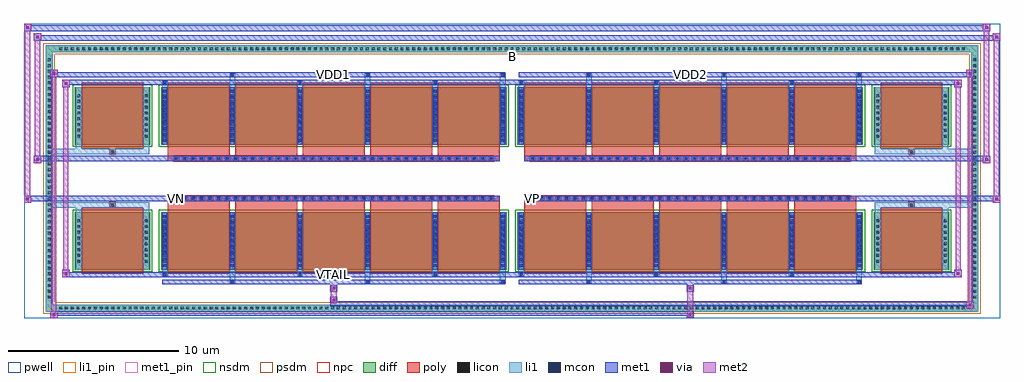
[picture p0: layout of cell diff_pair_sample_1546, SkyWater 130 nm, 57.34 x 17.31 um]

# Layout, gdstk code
import gdstk
lib = gdstk.Library(unit=1e-6, precision=5e-09)
def R(c, l, rs):  # rectangles x0, y0, x1, y1
    for r in rs: c.add(gdstk.rectangle(r[:2], r[2:], *l))
def A(c, l, x, y, w, h, nx, ny, dx, dy):  # array of equal rectangles
    R(c, l, [(x+i*dx, y+j*dy, x+i*dx+w, y+j*dy+h) for i in range(nx) for j in range(ny)])
def P(c, l, *ps):  # polygons
    for p in ps: c.add(gdstk.Polygon(p, *l))
pwell = (64, 44)
diff = (65, 20)
poly = (66, 20)
licon = (66, 44)
li1_pin = (67, 16)
li1 = (67, 20)
mcon = (67, 44)
met1_pin = (68, 16)
met1 = (68, 20)
via = (68, 44)
met2 = (69, 20)
nsdm = (93, 44)
psdm = (94, 20)
npc = (95, 20)

diff_pair_sample_1546 = lib.new_cell('diff_pair_sample_1546')
R(diff_pair_sample_1546, pwell, [(-28.67,-8.22,28.67,9.09), (-25.99,-6.41,-0.01,-0.805), (0.01,-6.41,25.99,-0.805), (-25.99,0.805,-0.01,6.41), (0.01,0.805,25.99,6.41)])
A(diff_pair_sample_1546, diff, -26.725, -7.82, 0.41, 0.41, 157, 2, 0.34, 15.23)
A(diff_pair_sample_1546, diff, -27.4, -7.175, 0.41, 0.41, 1, 42, 0, 0.34)
A(diff_pair_sample_1546, diff, 26.99, -7.175, 0.41, 0.41, 1, 42, 0, 0.34)
R(diff_pair_sample_1546, diff, [(-26.725,-7.82,26.725,-7.41), (-27.4,-7.175,-26.99,7.175), (26.99,-7.175,27.4,7.175), (-25.68,-5.365,-21.26,-1.985), (-20.62,-5.365,-0.32,-1.985), (0.32,-5.365,20.62,-1.985), (21.26,-5.365,25.68,-1.985), (-25.68,1.985,-21.26,5.365), (-20.62,1.985,-0.32,5.365), (0.32,1.985,20.62,5.365), (21.26,1.985,25.68,5.365), (-26.725,7.41,26.725,7.82)])
P(diff_pair_sample_1546, diff, [(27.4,7.82),(-27.4,7.82),(-27.4,-7.41),(-26.99,-7.41),(-26.99,7.41),(26.99,7.41),(26.99,-7.41),(-26.99,-7.41),(-27.4,-7.41),(-27.4,-7.82),(27.4,-7.82)])
A(diff_pair_sample_1546, poly, -20.23, -5.615, 3.64, 3.88, 5, 2, 3.97, 7.35)
A(diff_pair_sample_1546, poly, 0.71, -5.615, 3.64, 3.88, 5, 2, 3.97, 7.35)
A(diff_pair_sample_1546, poly, -20.23, -1.735, 3.64, 0.4, 5, 2, 3.97, 3.07)
A(diff_pair_sample_1546, poly, 0.71, -1.735, 3.64, 0.4, 5, 2, 3.97, 3.07)
A(diff_pair_sample_1546, poly, -19.885, -1.335, 0.33, 0.33, 38, 2, 0.5, 2.34)
A(diff_pair_sample_1546, poly, 1.055, -1.335, 0.33, 0.33, 38, 2, 0.5, 2.34)
R(diff_pair_sample_1546, poly, [(-25.29,-5.615,-21.65,-1.735), (21.65,-5.615,25.29,-1.735), (-23.635,-1.735,-23.305,-1.405), (-23.635,-1.735,-23.305,-1.405), (23.305,-1.735,23.635,-1.405), (23.305,-1.735,23.635,-1.405), (-20.23,-1.335,-0.71,-1.005), (0.71,-1.335,20.23,-1.005), (-20.23,1.005,-0.71,1.335), (0.71,1.005,20.23,1.335), (-23.635,1.405,-23.305,1.735), (-23.635,1.405,-23.305,1.735), (23.305,1.405,23.635,1.735), (23.305,1.405,23.635,1.735), (-25.29,1.735,-21.65,5.615), (21.65,1.735,25.29,5.615)])
A(diff_pair_sample_1546, licon, -26.605, -7.7, 0.17, 0.17, 157, 2, 0.34, 15.23)
A(diff_pair_sample_1546, licon, -27.28, -7.055, 0.17, 0.17, 1, 42, 0, 0.34)
A(diff_pair_sample_1546, licon, 27.11, -7.055, 0.17, 0.17, 1, 42, 0, 0.34)
A(diff_pair_sample_1546, licon, -25.54, -4.95, 0.17, 0.17, 1, 8, 0, 0.34)
A(diff_pair_sample_1546, licon, -21.57, -4.95, 0.17, 0.17, 1, 8, 0, 0.34)
A(diff_pair_sample_1546, licon, -20.48, -4.95, 0.17, 0.17, 6, 8, 3.97, 0.34)
A(diff_pair_sample_1546, licon, 0.46, -4.95, 0.17, 0.17, 6, 8, 3.97, 0.34)
A(diff_pair_sample_1546, licon, 21.4, -4.95, 0.17, 0.17, 1, 8, 0, 0.34)
A(diff_pair_sample_1546, licon, 25.37, -4.95, 0.17, 0.17, 1, 8, 0, 0.34)
A(diff_pair_sample_1546, licon, -19.805, -1.255, 0.17, 0.17, 38, 2, 0.5, 2.34)
A(diff_pair_sample_1546, licon, 1.135, -1.255, 0.17, 0.17, 38, 2, 0.5, 2.34)
A(diff_pair_sample_1546, licon, -25.54, 2.4, 0.17, 0.17, 1, 8, 0, 0.34)
A(diff_pair_sample_1546, licon, -21.57, 2.4, 0.17, 0.17, 1, 8, 0, 0.34)
A(diff_pair_sample_1546, licon, -20.48, 2.4, 0.17, 0.17, 6, 8, 3.97, 0.34)
A(diff_pair_sample_1546, licon, 0.46, 2.4, 0.17, 0.17, 6, 8, 3.97, 0.34)
A(diff_pair_sample_1546, licon, 21.4, 2.4, 0.17, 0.17, 1, 8, 0, 0.34)
A(diff_pair_sample_1546, licon, 25.37, 2.4, 0.17, 0.17, 1, 8, 0, 0.34)
R(diff_pair_sample_1546, licon, [(-23.555,-1.655,-23.385,-1.485), (23.385,-1.655,23.555,-1.485), (-23.555,1.485,-23.385,1.655), (23.385,1.485,23.555,1.655)])
R(diff_pair_sample_1546, li1_pin, [(-0.25,6.91,0.25,7.41)])
A(diff_pair_sample_1546, li1, -26.685, -7.78, 0.33, 0.33, 157, 2, 0.34, 15.23)
A(diff_pair_sample_1546, li1, -27.36, -7.135, 0.33, 0.33, 1, 42, 0, 0.34)
A(diff_pair_sample_1546, li1, 27.03, -7.135, 0.33, 0.33, 1, 42, 0, 0.34)
A(diff_pair_sample_1546, li1, -16.59, -6.17, 0.33, 0.805, 3, 2, 7.94, 11.535)
A(diff_pair_sample_1546, li1, -16.51, -6.17, 0.17, 0.17, 3, 2, 7.94, 12.17)
A(diff_pair_sample_1546, li1, 4.35, -6.17, 0.33, 0.805, 3, 2, 7.94, 11.535)
A(diff_pair_sample_1546, li1, 4.43, -6.17, 0.17, 0.17, 3, 2, 7.94, 12.17)
A(diff_pair_sample_1546, li1, -20.56, -5.74, 0.33, 0.375, 3, 2, 7.94, 11.105)
A(diff_pair_sample_1546, li1, -20.48, -5.74, 0.17, 0.17, 3, 2, 7.94, 11.31)
A(diff_pair_sample_1546, li1, 0.38, -5.74, 0.33, 0.375, 3, 2, 7.94, 11.105)
A(diff_pair_sample_1546, li1, 0.46, -5.74, 0.17, 0.17, 3, 2, 7.94, 11.31)
A(diff_pair_sample_1546, li1, -20.56, -5.365, 0.33, 3.38, 6, 2, 3.97, 7.35)
A(diff_pair_sample_1546, li1, 0.38, -5.365, 0.33, 3.38, 6, 2, 3.97, 7.35)
A(diff_pair_sample_1546, li1, -20.48, -5.2, 0.17, 0.17, 6, 9, 3.97, 0.36)
A(diff_pair_sample_1546, li1, -20.48, -5.2, 0.17, 3.05, 6, 2, 3.97, 7.35)
A(diff_pair_sample_1546, li1, 0.46, -5.2, 0.17, 0.17, 6, 9, 3.97, 0.36)
A(diff_pair_sample_1546, li1, 0.46, -5.2, 0.17, 3.05, 6, 2, 3.97, 7.35)
A(diff_pair_sample_1546, li1, -25.62, -5.03, 0.33, 0.33, 1, 8, 0, 0.34)
A(diff_pair_sample_1546, li1, -21.65, -5.03, 0.33, 0.33, 1, 8, 0, 0.34)
A(diff_pair_sample_1546, li1, -20.56, -5.03, 0.33, 0.33, 6, 8, 3.97, 0.34)
A(diff_pair_sample_1546, li1, 0.38, -5.03, 0.33, 0.33, 6, 8, 3.97, 0.34)
A(diff_pair_sample_1546, li1, 21.32, -5.03, 0.33, 0.33, 1, 8, 0, 0.34)
A(diff_pair_sample_1546, li1, 25.29, -5.03, 0.33, 0.33, 1, 8, 0, 0.34)
A(diff_pair_sample_1546, li1, -19.885, -1.335, 0.33, 0.33, 38, 2, 0.5, 2.34)
A(diff_pair_sample_1546, li1, 1.055, -1.335, 0.33, 0.33, 38, 2, 0.5, 2.34)
A(diff_pair_sample_1546, li1, -20.48, 2.15, 0.17, 0.17, 6, 9, 3.97, 0.36)
A(diff_pair_sample_1546, li1, 0.46, 2.15, 0.17, 0.17, 6, 9, 3.97, 0.36)
A(diff_pair_sample_1546, li1, -25.62, 2.32, 0.33, 0.33, 1, 8, 0, 0.34)
A(diff_pair_sample_1546, li1, -21.65, 2.32, 0.33, 0.33, 1, 8, 0, 0.34)
A(diff_pair_sample_1546, li1, -20.56, 2.32, 0.33, 0.33, 6, 8, 3.97, 0.34)
A(diff_pair_sample_1546, li1, 0.38, 2.32, 0.33, 0.33, 6, 8, 3.97, 0.34)
A(diff_pair_sample_1546, li1, 21.32, 2.32, 0.33, 0.33, 1, 8, 0, 0.34)
A(diff_pair_sample_1546, li1, 25.29, 2.32, 0.33, 0.33, 1, 8, 0, 0.34)
R(diff_pair_sample_1546, li1, [(-27.4,-7.82,-26.99,-7.41), (-27.4,-7.82,-26.99,-7.41), (-26.99,-7.82,26.99,-7.41), (26.99,-7.82,27.4,-7.41), (26.99,-7.82,27.4,-7.41), (-27.4,-7.41,-26.99,7.41), (26.99,-7.41,27.4,7.41), (-25.62,-5.365,-25.29,-1.985), (-21.65,-5.365,-21.32,-1.985), (21.32,-5.365,21.65,-1.985), (25.29,-5.365,25.62,-1.985), (-25.62,-1.985,-25.29,-1.405), (-21.65,-1.985,-21.32,-1.405), (21.32,-1.985,21.65,-1.405), (25.29,-1.985,25.62,-1.405), (-27.4,-1.735,-23.635,-1.405), (-25.62,-1.735,-23.635,-1.405), (-23.635,-1.735,-23.305,-1.405), (-23.305,-1.735,-21.32,-1.405), (21.32,-1.735,23.305,-1.405), (23.305,-1.735,23.635,-1.405), (23.305,-1.735,27.4,-1.405), (23.635,-1.735,25.62,-1.405), (-27.4,1.405,-23.635,1.735), (-25.62,1.405,-23.635,1.735), (-25.62,1.405,-25.29,1.985), (-23.635,1.405,-23.305,1.735), (-23.305,1.405,-21.32,1.735), (-21.65,1.405,-21.32,1.985), (21.32,1.405,23.305,1.735), (21.32,1.405,21.65,1.985), (23.305,1.405,23.635,1.735), (23.305,1.405,27.4,1.735), (23.635,1.405,25.62,1.735), (25.29,1.405,25.62,1.985), (-25.62,1.985,-25.29,5.365), (-21.65,1.985,-21.32,5.365), (21.32,1.985,21.65,5.365), (25.29,1.985,25.62,5.365), (-27.4,7.41,-26.99,7.82), (-27.4,7.41,-26.99,7.82), (-26.99,7.41,26.99,7.82), (26.99,7.41,27.4,7.82), (26.99,7.41,27.4,7.82)])
A(diff_pair_sample_1546, mcon, -16.51, -6.17, 0.17, 0.17, 3, 2, 7.94, 12.17)
A(diff_pair_sample_1546, mcon, 4.43, -6.17, 0.17, 0.17, 3, 2, 7.94, 12.17)
A(diff_pair_sample_1546, mcon, -20.48, -5.74, 0.17, 0.17, 3, 2, 7.94, 11.31)
A(diff_pair_sample_1546, mcon, 0.46, -5.74, 0.17, 0.17, 3, 2, 7.94, 11.31)
A(diff_pair_sample_1546, mcon, -20.48, -5.2, 0.17, 0.17, 6, 9, 3.97, 0.36)
A(diff_pair_sample_1546, mcon, 0.46, -5.2, 0.17, 0.17, 6, 9, 3.97, 0.36)
A(diff_pair_sample_1546, mcon, -19.805, -1.255, 0.17, 0.17, 38, 2, 0.5, 2.34)
A(diff_pair_sample_1546, mcon, 1.135, -1.255, 0.17, 0.17, 38, 2, 0.5, 2.34)
A(diff_pair_sample_1546, mcon, -20.48, 2.15, 0.17, 0.17, 6, 9, 3.97, 0.36)
A(diff_pair_sample_1546, mcon, 0.46, 2.15, 0.17, 0.17, 6, 9, 3.97, 0.36)
R(diff_pair_sample_1546, met1_pin, [(-10.605,-5.78,-10.335,-5.51), (-19.855,-1.295,-19.585,-1.025), (1.085,-1.295,1.355,-1.025), (-10.605,5.96,-10.335,6.23), (10.335,5.96,10.605,6.23)])
A(diff_pair_sample_1546, met1, -16.57, -6.23, 0.29, 0.29, 3, 2, 7.94, 12.17)
A(diff_pair_sample_1546, met1, 4.37, -6.23, 0.29, 0.29, 3, 2, 7.94, 12.17)
A(diff_pair_sample_1546, met1, -20.54, -5.8, 0.29, 0.29, 3, 2, 7.94, 11.31)
A(diff_pair_sample_1546, met1, 0.4, -5.8, 0.29, 0.29, 3, 2, 7.94, 11.31)
A(diff_pair_sample_1546, met1, -20.54, -5.365, 0.29, 3.38, 6, 2, 3.97, 7.35)
A(diff_pair_sample_1546, met1, 0.4, -5.365, 0.29, 3.38, 6, 2, 3.97, 7.35)
A(diff_pair_sample_1546, met1, -20.54, -5.26, 0.29, 0.29, 6, 9, 3.97, 0.36)
A(diff_pair_sample_1546, met1, 0.4, -5.26, 0.29, 0.29, 6, 9, 3.97, 0.36)
A(diff_pair_sample_1546, met1, -19.865, -1.315, 0.29, 0.29, 38, 2, 0.5, 2.34)
A(diff_pair_sample_1546, met1, 1.075, -1.315, 0.29, 0.29, 38, 2, 0.5, 2.34)
A(diff_pair_sample_1546, met1, -20.54, 2.09, 0.29, 0.29, 6, 9, 3.97, 0.36)
A(diff_pair_sample_1546, met1, 0.4, 2.09, 0.29, 0.29, 6, 9, 3.97, 0.36)
R(diff_pair_sample_1546, met1, [(-27.13,-8.22,-26.7,-7.79), (10.255,-8.22,10.685,-7.79), (-27.13,-8.08,10.685,-7.79), (26.7,-7.65,27.13,-7.22), (-10.685,-7.51,27.13,-7.22), (-10.685,-7.37,-10.255,-6.94), (-10.685,-6.66,-10.255,-6.23), (10.255,-6.66,10.685,-6.23), (-20.54,-6.23,-0.4,-5.94), (0.4,-6.23,20.54,-5.94), (-26.42,-5.8,-25.99,-5.37), (-26.42,-5.8,-20.54,-5.51), (-20.54,-5.8,-0.4,-5.51), (-0.4,-5.8,0.4,-5.51), (0.4,-5.8,20.54,-5.51), (20.54,-5.8,26.42,-5.51), (25.99,-5.8,26.42,-5.37), (-28.67,-1.435,-28.24,-1.005), (28.24,-1.435,28.67,-1.005), (-28.67,-1.335,-0.71,-1.005), (-20.23,-1.335,-0.71,-1.005), (0.71,-1.335,20.23,-1.005), (0.71,-1.335,28.67,-1.005), (-28.1,0.905,-27.67,1.335), (27.67,0.905,28.1,1.335), (-28.1,1.005,-20.23,1.335), (-20.23,1.005,-0.71,1.335), (0.71,1.005,20.23,1.335), (20.23,1.005,28.1,1.335), (-26.42,5.37,-25.99,5.8), (25.99,5.37,26.42,5.8), (-26.42,5.51,-20.54,5.8), (-20.54,5.51,-0.4,5.8), (-0.4,5.51,0.4,5.8), (0.4,5.51,20.54,5.8), (20.54,5.51,26.42,5.8), (-27.13,5.94,-26.7,6.37), (-27.13,5.94,-20.54,6.23), (-20.54,5.94,-0.4,6.23), (0.4,5.94,20.54,6.23), (20.54,5.94,27.13,6.23), (26.7,5.94,27.13,6.37), (-28.1,8.09,-27.67,8.52), (-28.1,8.09,-25.99,8.42), (-25.99,8.09,25.99,8.42), (25.99,8.09,28.67,8.42), (28.24,8.09,28.67,8.52), (-28.67,8.66,-28.24,9.09), (-28.67,8.66,-25.99,8.99), (-25.99,8.66,25.99,8.99), (25.99,8.66,28.1,8.99), (27.67,8.66,28.1,9.09)])
R(diff_pair_sample_1546, via, [(-26.99,-8.08,-26.84,-7.93), (10.395,-8.08,10.545,-7.93), (26.84,-7.51,26.99,-7.36), (-10.545,-7.23,-10.395,-7.08), (-10.545,-6.52,-10.395,-6.37), (10.395,-6.52,10.545,-6.37), (-26.28,-5.66,-26.13,-5.51), (26.13,-5.66,26.28,-5.51), (-28.53,-1.295,-28.38,-1.145), (28.38,-1.295,28.53,-1.145), (-27.96,1.045,-27.81,1.195), (27.81,1.045,27.96,1.195), (-26.28,5.51,-26.13,5.66), (26.13,5.51,26.28,5.66), (-26.99,6.08,-26.84,6.23), (26.84,6.08,26.99,6.23), (-27.96,8.23,-27.81,8.38), (28.38,8.23,28.53,8.38), (-28.53,8.8,-28.38,8.95), (27.81,8.8,27.96,8.95)])
R(diff_pair_sample_1546, met2, [(-27.13,-8.22,-26.7,-7.79), (-27.06,-8.22,-26.77,6.37), (-26.77,-8.22,-26.7,-7.79), (-27.08,-8.17,-26.75,-7.84), (10.305,-8.17,10.635,-7.84), (10.305,-7.84,10.635,-6.61), (26.7,-7.65,27.13,-7.22), (26.77,-7.65,27.06,6.37), (27.06,-7.65,27.13,-7.22), (26.75,-7.6,27.08,-7.27), (-10.635,-7.32,-10.305,-6.99), (-10.635,-6.99,-10.305,-6.61), (-10.635,-6.61,-10.305,-6.28), (10.305,-6.61,10.635,-6.28), (-26.42,-5.8,-25.99,-5.37), (-26.35,-5.8,-26.06,5.8), (-26.06,-5.8,-25.99,-5.37), (25.99,-5.8,26.42,-5.37), (26.06,-5.8,26.35,5.8), (26.35,-5.8,26.42,-5.37), (-26.37,-5.75,-26.04,-5.42), (26.04,-5.75,26.37,-5.42), (-28.67,-1.435,-28.24,-1.005), (-28.62,-1.435,-28.29,9.09), (-28.29,-1.435,-28.24,-1.005), (28.24,-1.435,28.67,-1.005), (28.29,-1.435,28.62,8.52), (28.62,-1.435,28.67,-1.005), (-28.62,-1.385,-28.29,-1.055), (28.29,-1.385,28.62,-1.055), (-28.1,0.905,-27.67,1.335), (-28.05,0.905,-27.72,8.52), (-27.72,0.905,-27.67,1.335), (27.67,0.905,28.1,1.335), (27.72,0.905,28.05,9.09), (28.05,0.905,28.1,1.335), (-28.05,0.955,-27.72,1.285), (27.72,0.955,28.05,1.285), (-26.42,5.37,-25.99,5.8), (-26.06,5.37,-25.99,5.8), (25.99,5.37,26.42,5.8), (26.35,5.37,26.42,5.8), (-26.37,5.42,-26.04,5.75), (26.04,5.42,26.37,5.75), (-27.13,5.94,-26.7,6.37), (-26.77,5.94,-26.7,6.37), (26.7,5.94,27.13,6.37), (27.06,5.94,27.13,6.37), (-27.08,5.99,-26.75,6.32), (26.75,5.99,27.08,6.32), (-28.1,8.09,-27.67,8.52), (-27.72,8.09,-27.67,8.52), (28.24,8.09,28.67,8.52), (28.62,8.09,28.67,8.52), (-28.05,8.14,-27.72,8.47), (28.29,8.14,28.62,8.47), (-28.67,8.66,-28.24,9.09), (-28.29,8.66,-28.24,9.09), (27.67,8.66,28.1,9.09), (28.05,8.66,28.1,9.09), (-28.62,8.71,-28.29,9.04), (27.72,8.71,28.05,9.04)])
R(diff_pair_sample_1546, nsdm, [(-25.81,-5.495,-21.13,-1.855), (-20.75,-5.495,-0.19,-1.855), (0.19,-5.495,20.75,-1.855), (21.13,-5.495,25.81,-1.855), (-25.81,1.855,-21.13,5.495), (-20.75,1.855,-0.19,5.495), (0.19,1.855,20.75,5.495), (21.13,1.855,25.81,5.495)])
P(diff_pair_sample_1546, psdm, [(27.53,7.95),(-27.53,7.95),(-27.53,-7.28),(-26.86,-7.28),(-26.86,7.28),(26.86,7.28),(26.86,-7.28),(-26.86,-7.28),(-27.53,-7.28),(-27.53,-7.95),(27.53,-7.95)])
A(diff_pair_sample_1546, npc, -19.905, -1.355, 0.37, 0.37, 38, 2, 0.5, 2.34)
A(diff_pair_sample_1546, npc, 1.035, -1.355, 0.37, 0.37, 38, 2, 0.5, 2.34)
R(diff_pair_sample_1546, npc, [(-23.655,-1.755,-23.285,-1.385), (23.285,-1.755,23.655,-1.385), (-19.905,-1.355,-19.035,-0.985), (-19.905,-1.355,-19.035,-0.985), (-19.405,-1.355,-18.535,-0.985), (-19.405,-1.355,-18.535,-0.985), (-18.905,-1.355,-18.035,-0.985), (-18.905,-1.355,-18.035,-0.985), (-18.405,-1.355,-17.535,-0.985), (-18.405,-1.355,-17.535,-0.985), (-17.905,-1.355,-17.035,-0.985), (-17.905,-1.355,-17.035,-0.985), (-17.405,-1.355,-16.535,-0.985), (-17.405,-1.355,-16.535,-0.985), (-16.905,-1.355,-16.035,-0.985), (-16.905,-1.355,-16.035,-0.985), (-16.405,-1.355,-15.535,-0.985), (-16.405,-1.355,-15.535,-0.985), (-15.905,-1.355,-15.035,-0.985), (-15.905,-1.355,-15.035,-0.985), (-15.405,-1.355,-14.535,-0.985), (-15.405,-1.355,-14.535,-0.985), (-14.905,-1.355,-14.035,-0.985), (-14.905,-1.355,-14.035,-0.985), (-14.405,-1.355,-13.535,-0.985), (-14.405,-1.355,-13.535,-0.985), (-13.905,-1.355,-13.035,-0.985), (-13.905,-1.355,-13.035,-0.985), (-13.405,-1.355,-12.535,-0.985), (-13.405,-1.355,-12.535,-0.985), (-12.905,-1.355,-12.035,-0.985), (-12.905,-1.355,-12.035,-0.985), (-12.405,-1.355,-11.535,-0.985), (-12.405,-1.355,-11.535,-0.985), (-11.905,-1.355,-11.035,-0.985), (-11.905,-1.355,-11.035,-0.985), (-11.405,-1.355,-10.535,-0.985), (-11.405,-1.355,-10.535,-0.985), (-10.905,-1.355,-10.035,-0.985), (-10.905,-1.355,-10.035,-0.985), (-10.405,-1.355,-9.535,-0.985), (-10.405,-1.355,-9.535,-0.985), (-9.905,-1.355,-9.035,-0.985), (-9.905,-1.355,-9.035,-0.985), (-9.405,-1.355,-8.535,-0.985), (-9.405,-1.355,-8.535,-0.985), (-8.905,-1.355,-8.035,-0.985), (-8.905,-1.355,-8.035,-0.985), (-8.405,-1.355,-7.535,-0.985), (-8.405,-1.355,-7.535,-0.985), (-7.905,-1.355,-7.035,-0.985), (-7.905,-1.355,-7.035,-0.985), (-7.405,-1.355,-6.535,-0.985), (-7.405,-1.355,-6.535,-0.985), (-6.905,-1.355,-6.035,-0.985), (-6.905,-1.355,-6.035,-0.985), (-6.405,-1.355,-5.535,-0.985), (-6.405,-1.355,-5.535,-0.985), (-5.905,-1.355,-5.035,-0.985), (-5.905,-1.355,-5.035,-0.985), (-5.405,-1.355,-4.535,-0.985), (-5.405,-1.355,-4.535,-0.985), (-4.905,-1.355,-4.035,-0.985), (-4.905,-1.355,-4.035,-0.985), (-4.405,-1.355,-3.535,-0.985), (-4.405,-1.355,-3.535,-0.985), (-3.905,-1.355,-3.035,-0.985), (-3.905,-1.355,-3.035,-0.985), (-3.405,-1.355,-2.535,-0.985), (-3.405,-1.355,-2.535,-0.985), (-2.905,-1.355,-2.035,-0.985), (-2.905,-1.355,-2.035,-0.985), (-2.405,-1.355,-1.535,-0.985), (-2.405,-1.355,-1.535,-0.985), (-1.905,-1.355,-1.035,-0.985), (-1.905,-1.355,-1.035,-0.985), (1.035,-1.355,1.905,-0.985), (1.035,-1.355,1.905,-0.985), (1.535,-1.355,2.405,-0.985), (1.535,-1.355,2.405,-0.985), (2.035,-1.355,2.905,-0.985), (2.035,-1.355,2.905,-0.985), (2.535,-1.355,3.405,-0.985), (2.535,-1.355,3.405,-0.985), (3.035,-1.355,3.905,-0.985), (3.035,-1.355,3.905,-0.985), (3.535,-1.355,4.405,-0.985), (3.535,-1.355,4.405,-0.985), (4.035,-1.355,4.905,-0.985), (4.035,-1.355,4.905,-0.985), (4.535,-1.355,5.405,-0.985), (4.535,-1.355,5.405,-0.985), (5.035,-1.355,5.905,-0.985), (5.035,-1.355,5.905,-0.985), (5.535,-1.355,6.405,-0.985), (5.535,-1.355,6.405,-0.985), (6.035,-1.355,6.905,-0.985), (6.035,-1.355,6.905,-0.985), (6.535,-1.355,7.405,-0.985), (6.535,-1.355,7.405,-0.985), (7.035,-1.355,7.905,-0.985), (7.035,-1.355,7.905,-0.985), (7.535,-1.355,8.405,-0.985), (7.535,-1.355,8.405,-0.985), (8.035,-1.355,8.905,-0.985), (8.035,-1.355,8.905,-0.985), (8.535,-1.355,9.405,-0.985), (8.535,-1.355,9.405,-0.985), (9.035,-1.355,9.905,-0.985), (9.035,-1.355,9.905,-0.985), (9.535,-1.355,10.405,-0.985), (9.535,-1.355,10.405,-0.985), (10.035,-1.355,10.905,-0.985), (10.035,-1.355,10.905,-0.985), (10.535,-1.355,11.405,-0.985), (10.535,-1.355,11.405,-0.985), (11.035,-1.355,11.905,-0.985), (11.035,-1.355,11.905,-0.985), (11.535,-1.355,12.405,-0.985), (11.535,-1.355,12.405,-0.985), (12.035,-1.355,12.905,-0.985), (12.035,-1.355,12.905,-0.985), (12.535,-1.355,13.405,-0.985), (12.535,-1.355,13.405,-0.985), (13.035,-1.355,13.905,-0.985), (13.035,-1.355,13.905,-0.985), (13.535,-1.355,14.405,-0.985), (13.535,-1.355,14.405,-0.985), (14.035,-1.355,14.905,-0.985), (14.035,-1.355,14.905,-0.985), (14.535,-1.355,15.405,-0.985), (14.535,-1.355,15.405,-0.985), (15.035,-1.355,15.905,-0.985), (15.035,-1.355,15.905,-0.985), (15.535,-1.355,16.405,-0.985), (15.535,-1.355,16.405,-0.985), (16.035,-1.355,16.905,-0.985), (16.035,-1.355,16.905,-0.985), (16.535,-1.355,17.405,-0.985), (16.535,-1.355,17.405,-0.985), (17.035,-1.355,17.905,-0.985), (17.035,-1.355,17.905,-0.985), (17.535,-1.355,18.405,-0.985), (17.535,-1.355,18.405,-0.985), (18.035,-1.355,18.905,-0.985), (18.035,-1.355,18.905,-0.985), (18.535,-1.355,19.405,-0.985), (18.535,-1.355,19.405,-0.985), (19.035,-1.355,19.905,-0.985), (19.035,-1.355,19.905,-0.985), (-19.905,0.985,-19.035,1.355), (-19.905,0.985,-19.035,1.355), (-19.405,0.985,-18.535,1.355), (-19.405,0.985,-18.535,1.355), (-18.905,0.985,-18.035,1.355), (-18.905,0.985,-18.035,1.355), (-18.405,0.985,-17.535,1.355), (-18.405,0.985,-17.535,1.355), (-17.905,0.985,-17.035,1.355), (-17.905,0.985,-17.035,1.355), (-17.405,0.985,-16.535,1.355), (-17.405,0.985,-16.535,1.355), (-16.905,0.985,-16.035,1.355), (-16.905,0.985,-16.035,1.355), (-16.405,0.985,-15.535,1.355), (-16.405,0.985,-15.535,1.355), (-15.905,0.985,-15.035,1.355), (-15.905,0.985,-15.035,1.355), (-15.405,0.985,-14.535,1.355), (-15.405,0.985,-14.535,1.355), (-14.905,0.985,-14.035,1.355), (-14.905,0.985,-14.035,1.355), (-14.405,0.985,-13.535,1.355), (-14.405,0.985,-13.535,1.355), (-13.905,0.985,-13.035,1.355), (-13.905,0.985,-13.035,1.355), (-13.405,0.985,-12.535,1.355), (-13.405,0.985,-12.535,1.355), (-12.905,0.985,-12.035,1.355), (-12.905,0.985,-12.035,1.355), (-12.405,0.985,-11.535,1.355), (-12.405,0.985,-11.535,1.355), (-11.905,0.985,-11.035,1.355), (-11.905,0.985,-11.035,1.355), (-11.405,0.985,-10.535,1.355), (-11.405,0.985,-10.535,1.355), (-10.905,0.985,-10.035,1.355), (-10.905,0.985,-10.035,1.355), (-10.405,0.985,-9.535,1.355), (-10.405,0.985,-9.535,1.355), (-9.905,0.985,-9.035,1.355), (-9.905,0.985,-9.035,1.355), (-9.405,0.985,-8.535,1.355), (-9.405,0.985,-8.535,1.355), (-8.905,0.985,-8.035,1.355), (-8.905,0.985,-8.035,1.355), (-8.405,0.985,-7.535,1.355), (-8.405,0.985,-7.535,1.355), (-7.905,0.985,-7.035,1.355), (-7.905,0.985,-7.035,1.355), (-7.405,0.985,-6.535,1.355), (-7.405,0.985,-6.535,1.355), (-6.905,0.985,-6.035,1.355), (-6.905,0.985,-6.035,1.355), (-6.405,0.985,-5.535,1.355), (-6.405,0.985,-5.535,1.355), (-5.905,0.985,-5.035,1.355), (-5.905,0.985,-5.035,1.355), (-5.405,0.985,-4.535,1.355), (-5.405,0.985,-4.535,1.355), (-4.905,0.985,-4.035,1.355), (-4.905,0.985,-4.035,1.355), (-4.405,0.985,-3.535,1.355), (-4.405,0.985,-3.535,1.355), (-3.905,0.985,-3.035,1.355), (-3.905,0.985,-3.035,1.355), (-3.405,0.985,-2.535,1.355), (-3.405,0.985,-2.535,1.355), (-2.905,0.985,-2.035,1.355), (-2.905,0.985,-2.035,1.355), (-2.405,0.985,-1.535,1.355), (-2.405,0.985,-1.535,1.355), (-1.905,0.985,-1.035,1.355), (-1.905,0.985,-1.035,1.355), (1.035,0.985,1.905,1.355), (1.035,0.985,1.905,1.355), (1.535,0.985,2.405,1.355), (1.535,0.985,2.405,1.355), (2.035,0.985,2.905,1.355), (2.035,0.985,2.905,1.355), (2.535,0.985,3.405,1.355), (2.535,0.985,3.405,1.355), (3.035,0.985,3.905,1.355), (3.035,0.985,3.905,1.355), (3.535,0.985,4.405,1.355), (3.535,0.985,4.405,1.355), (4.035,0.985,4.905,1.355), (4.035,0.985,4.905,1.355), (4.535,0.985,5.405,1.355), (4.535,0.985,5.405,1.355), (5.035,0.985,5.905,1.355), (5.035,0.985,5.905,1.355), (5.535,0.985,6.405,1.355), (5.535,0.985,6.405,1.355), (6.035,0.985,6.905,1.355), (6.035,0.985,6.905,1.355), (6.535,0.985,7.405,1.355), (6.535,0.985,7.405,1.355), (7.035,0.985,7.905,1.355), (7.035,0.985,7.905,1.355), (7.535,0.985,8.405,1.355), (7.535,0.985,8.405,1.355), (8.035,0.985,8.905,1.355), (8.035,0.985,8.905,1.355), (8.535,0.985,9.405,1.355), (8.535,0.985,9.405,1.355), (9.035,0.985,9.905,1.355), (9.035,0.985,9.905,1.355), (9.535,0.985,10.405,1.355), (9.535,0.985,10.405,1.355), (10.035,0.985,10.905,1.355), (10.035,0.985,10.905,1.355), (10.535,0.985,11.405,1.355), (10.535,0.985,11.405,1.355), (11.035,0.985,11.905,1.355), (11.035,0.985,11.905,1.355), (11.535,0.985,12.405,1.355), (11.535,0.985,12.405,1.355), (12.035,0.985,12.905,1.355), (12.035,0.985,12.905,1.355), (12.535,0.985,13.405,1.355), (12.535,0.985,13.405,1.355), (13.035,0.985,13.905,1.355), (13.035,0.985,13.905,1.355), (13.535,0.985,14.405,1.355), (13.535,0.985,14.405,1.355), (14.035,0.985,14.905,1.355), (14.035,0.985,14.905,1.355), (14.535,0.985,15.405,1.355), (14.535,0.985,15.405,1.355), (15.035,0.985,15.905,1.355), (15.035,0.985,15.905,1.355), (15.535,0.985,16.405,1.355), (15.535,0.985,16.405,1.355), (16.035,0.985,16.905,1.355), (16.035,0.985,16.905,1.355), (16.535,0.985,17.405,1.355), (16.535,0.985,17.405,1.355), (17.035,0.985,17.905,1.355), (17.035,0.985,17.905,1.355), (17.535,0.985,18.405,1.355), (17.535,0.985,18.405,1.355), (18.035,0.985,18.905,1.355), (18.035,0.985,18.905,1.355), (18.535,0.985,19.405,1.355), (18.535,0.985,19.405,1.355), (19.035,0.985,19.905,1.355), (19.035,0.985,19.905,1.355), (-23.655,1.385,-23.285,1.755), (23.285,1.385,23.655,1.755)])
diff_pair_sample_1546.add(gdstk.Label('VTAIL', (-10.47,-5.645), layer=68, texttype=5))
diff_pair_sample_1546.add(gdstk.Label('VN', (-19.72,-1.16), layer=68, texttype=5))
diff_pair_sample_1546.add(gdstk.Label('VP', (1.22,-1.16), layer=68, texttype=5))
diff_pair_sample_1546.add(gdstk.Label('B', (0,7.16), layer=67, texttype=5))
diff_pair_sample_1546.add(gdstk.Label('VDD2', (10.47,6.095), layer=68, texttype=5))
diff_pair_sample_1546.add(gdstk.Label('VDD1', (-10.47,6.095), layer=68, texttype=5))

lib.write_gds('diff_pair_sample_1546.gds')
